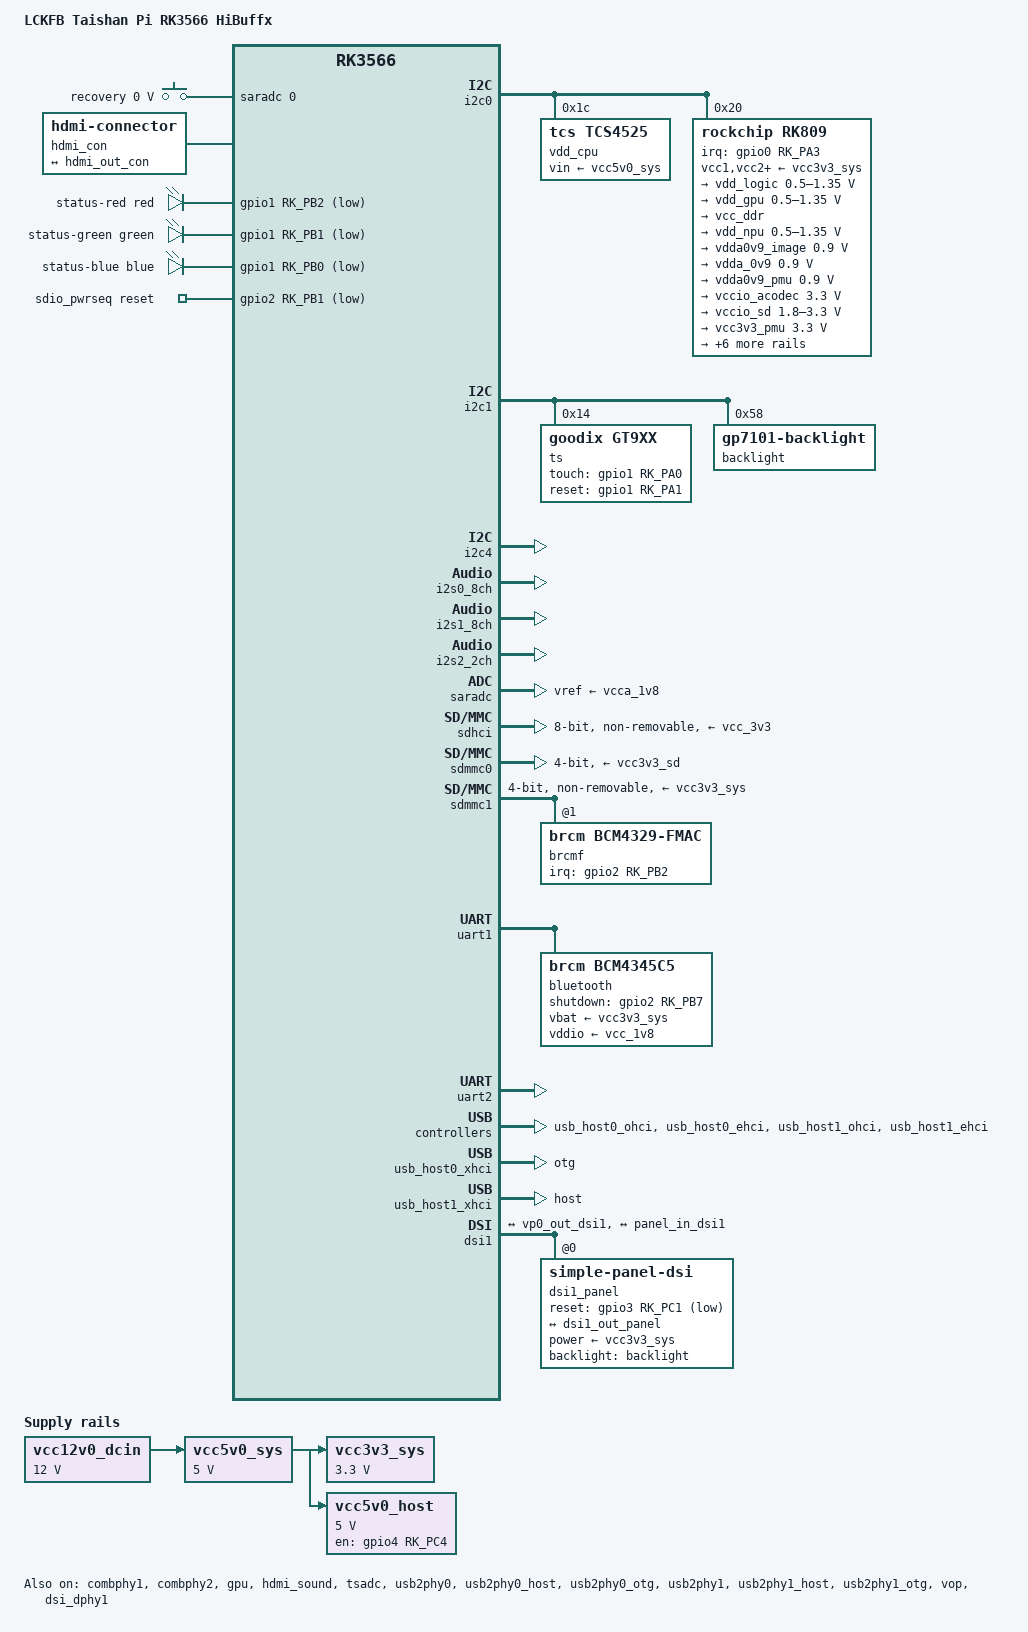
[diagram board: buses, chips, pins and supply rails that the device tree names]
// SPDX-License-Identifier: (GPL-2.0+ OR MIT)

/dts-v1/;

#include <dt-bindings/gpio/gpio.h>
#include <dt-bindings/display/media-bus-format.h>
#include <dt-bindings/leds/common.h>
#include <dt-bindings/pinctrl/rockchip.h>
#include <dt-bindings/soc/rockchip,vop2.h>
#include <dt-bindings/soc/rockchip,boot-mode.h>
#include <dt-bindings/display/drm_mipi_dsi.h>
#include <dt-bindings/display/rockchip_vop.h>
#include <dt-bindings/input/rk-input.h>
#include <dt-bindings/sensor-dev.h>
#include "rk3566.dtsi"

/ {
	model = "LCKFB Taishan Pi RK3566 HiBuffx";
	compatible = "lckfb,tspi-rk3566", "rockchip,rk3566";

	aliases {
		mmc0 = &sdhci;		//emmc设置为mmc0 (mmcblk0)
		mmc1 = &sdmmc0;		//sd设置为mmc1 (mmcblk1)
		mmc2 = &sdmmc1;
	};

	chosen: chosen {
		stdout-path = "serial2:1500000n8";
	};

	reserved-memory {
		#address-cells = <2>;
		#size-cells = <2>;
		ranges;

		ramoops: ramoops@110000 {
			compatible = "ramoops";
			reg = <0 0x110000 0 0xf0000>;
			console-size = <0x80000>;
			ftrace-size = <0x00000>;
			pmsg-size = <0x50000>;
			record-size = <0x20000>;
		};
	};

	adc_keys: adc-keys {
		compatible = "adc-keys";
		io-channels = <&saradc 0>;
		io-channel-names = "buttons";
		keyup-threshold-microvolt = <1800000>;
		poll-interval = <100>;

		button-recovery {
			label = "recovery";
			linux,code = <KEY_RESTART>;
			press-threshold-microvolt = <108>;
		};
	};

	hdmi_con: hdmi-con {
		compatible = "hdmi-connector";
		type = "d";

		port {
			hdmi_con_in: endpoint {
				remote-endpoint = <&hdmi_out_con>;
			};
		};
	};

	leds: leds {
		compatible = "gpio-leds";

		rgb_led_r: rgb-led-r {
			color = <LED_COLOR_ID_RED>;
			gpios = <&gpio1 RK_PB2 GPIO_ACTIVE_LOW>;
			label = "status-red";
		};

		rgb_led_g: rgb-led-g {
			gpios = <&gpio1 RK_PB1 GPIO_ACTIVE_LOW>;
			color = <LED_COLOR_ID_GREEN>;
			label = "status-green";
		};

		rgb_led_b: rgb-led-b {
			gpios = <&gpio1 RK_PB0 GPIO_ACTIVE_LOW>;
			color = <LED_COLOR_ID_BLUE>;
			label = "status-blue";
		};
	};

	multi_leds: multi-led {
		compatible = "leds-group-multicolor";
		color = <LED_COLOR_ID_RGB>;
		label = "status-rgb";
		function = LED_FUNCTION_INDICATOR;
		leds = <&rgb_led_r>, <&rgb_led_g>, <&rgb_led_b>;
	};

	vcc12v0_dcin: regulator-12v0-dcin {
		compatible = "regulator-fixed";
		regulator-name = "vcc12v0_dcin";
		regulator-always-on;
		regulator-boot-on;
		regulator-min-microvolt = <12000000>;
		regulator-max-microvolt = <12000000>;
	};

	vcc3v3_sys: regulator-3v3-vcc-sys {
		compatible = "regulator-fixed";
		regulator-name = "vcc3v3_sys";
		regulator-always-on;
		regulator-boot-on;
		regulator-min-microvolt = <3300000>;
		regulator-max-microvolt = <3300000>;
		vin-supply = <&vcc5v0_sys>;
	};

	vcc5v0_sys: regulator-5v0-vcc-sys {
		compatible = "regulator-fixed";
		regulator-name = "vcc5v0_sys";
		regulator-always-on;
		regulator-boot-on;
		regulator-min-microvolt = <5000000>;
		regulator-max-microvolt = <5000000>;
		vin-supply = <&vcc12v0_dcin>;
	};

	vcc5v0_host: regulator-5v0-vcc-host {
		compatible = "regulator-fixed";
		enable-active-high;
		gpio = <&gpio4 RK_PC4 GPIO_ACTIVE_HIGH>;
		pinctrl-names = "default";
		pinctrl-0 = <&vcc5v0_host_en>;
		regulator-name = "vcc5v0_host";
		regulator-min-microvolt = <5000000>;
		regulator-max-microvolt = <5000000>;
		vin-supply = <&vcc5v0_sys>;
	};

	sdio_pwrseq: sdio-pwrseq {
		compatible = "mmc-pwrseq-simple";
		clocks = <&rk809 1>;
		clock-names = "ext_clock";
		pinctrl-names = "default";
		pinctrl-0 = <&wifi_enable_h>;
		post-power-on-delay-ms = <200>;
		reset-gpios = <&gpio2 RK_PB1 GPIO_ACTIVE_LOW>;
	};

	sound {
		compatible = "simple-audio-card";
		simple-audio-card,format = "i2s";
		simple-audio-card,name = "Analog RK809";
		simple-audio-card,mclk-fs = <256>;

		simple-audio-card,cpu {
			sound-dai = <&i2s1_8ch>;
		};

		simple-audio-card,codec {
			sound-dai = <&rk809>;
		};
	};
};

&combphy1 {
	status = "okay";
};

&combphy2 {
	status = "okay";
};

&cpu0 {
	cpu-supply = <&vdd_cpu>;
};

&cpu1 {
	cpu-supply = <&vdd_cpu>;
};

&cpu2 {
	cpu-supply = <&vdd_cpu>;
};

&cpu3 {
	cpu-supply = <&vdd_cpu>;
};

&gpu {
	mali-supply = <&vdd_gpu>;
	status = "okay";
};

&hdmi {
	status = "disabled";
};

&hdmi_in {
	status = "disabled";
	/* 关键指令：删除 remote-endpoint 属性，防止它去找 vp0_out_hdmi */
	/delete-property/ remote-endpoint;
};

&hdmi_out {
	hdmi_out_con: endpoint {
		remote-endpoint = <&hdmi_con_in>;
	};
};

&hdmi_sound {
	status = "okay";
};

&i2c0 {
	status = "okay";

	vdd_cpu: regulator@1c {
		compatible = "tcs,tcs4525";
		reg = <0x1c>;
		fcs,suspend-voltage-selector = <1>;
		regulator-name = "vdd_cpu";
		regulator-always-on;
		regulator-boot-on;
		regulator-min-microvolt = <800000>;
		regulator-max-microvolt = <1150000>;
		regulator-ramp-delay = <2300>;
		vin-supply = <&vcc5v0_sys>;

		regulator-state-mem {
			regulator-off-in-suspend;
		};
	};

	rk809: pmic@20 {
		compatible = "rockchip,rk809";
		reg = <0x20>;
		assigned-clocks = <&cru I2S1_MCLKOUT_TX>;
		assigned-clock-parents = <&cru CLK_I2S1_8CH_TX>;
		#clock-cells = <1>;
		clock-output-names = "rk808-clkout1", "rk808-clkout2";
		clock-names = "mclk";
		clocks = <&cru I2S1_MCLKOUT_TX>;
		interrupt-parent = <&gpio0>;
		interrupts = <RK_PA3 IRQ_TYPE_LEVEL_LOW>;
		pinctrl-names = "default";
		pinctrl-0 = <&pmic_int>, <&i2s1m0_mclk>;
		system-power-controller;
		#sound-dai-cells = <0>;
		wakeup-source;

		vcc1-supply = <&vcc3v3_sys>;
		vcc2-supply = <&vcc3v3_sys>;
		vcc3-supply = <&vcc3v3_sys>;
		vcc4-supply = <&vcc3v3_sys>;
		vcc5-supply = <&vcc3v3_sys>;
		vcc6-supply = <&vcc3v3_sys>;
		vcc7-supply = <&vcc3v3_sys>;
		vcc8-supply = <&vcc3v3_sys>;
		vcc9-supply = <&vcc3v3_sys>;

		regulators {
			vdd_logic: DCDC_REG1 {
				regulator-name = "vdd_logic";
				regulator-always-on;
				regulator-boot-on;
				regulator-min-microvolt = <500000>;
				regulator-max-microvolt = <1350000>;
				regulator-ramp-delay = <6001>;
				regulator-initial-mode = <0x2>;

				regulator-state-mem {
					regulator-off-in-suspend;
				};
			};

			vdd_gpu: DCDC_REG2 {
				regulator-name = "vdd_gpu";
				regulator-always-on;
				regulator-boot-on;
				regulator-min-microvolt = <500000>;
				regulator-max-microvolt = <1350000>;
				regulator-ramp-delay = <6001>;
				regulator-initial-mode = <0x2>;

				regulator-state-mem {
					regulator-off-in-suspend;
				};
			};

			vcc_ddr: DCDC_REG3 {
				regulator-name = "vcc_ddr";
				regulator-always-on;
				regulator-boot-on;
				regulator-initial-mode = <0x2>;

				regulator-state-mem {
					regulator-on-in-suspend;
				};
			};

			vdd_npu: DCDC_REG4 {
				regulator-name = "vdd_npu";
				regulator-always-on;
				regulator-boot-on;
				regulator-min-microvolt = <500000>;
				regulator-max-microvolt = <1350000>;
				regulator-ramp-delay = <6001>;
				regulator-initial-mode = <0x2>;

				regulator-state-mem {
					regulator-off-in-suspend;
				};
			};

			vdda0v9_image: LDO_REG1 {
				regulator-name = "vdda0v9_image";
				regulator-boot-on;
				regulator-always-on;
				regulator-min-microvolt = <900000>;
				regulator-max-microvolt = <900000>;

				regulator-state-mem {
					regulator-off-in-suspend;
				};
			};

			vdda_0v9: LDO_REG2 {
				regulator-name = "vdda_0v9";
				regulator-always-on;
				regulator-boot-on;
				regulator-min-microvolt = <900000>;
				regulator-max-microvolt = <900000>;
				regulator-state-mem {
					regulator-off-in-suspend;
				};
			};

			vdda0v9_pmu: LDO_REG3 {
				regulator-name = "vdda0v9_pmu";
				regulator-always-on;
				regulator-boot-on;
				regulator-min-microvolt = <900000>;
				regulator-max-microvolt = <900000>;

				regulator-state-mem {
					regulator-on-in-suspend;
					regulator-suspend-microvolt = <900000>;
				};
			};

			vccio_acodec: LDO_REG4 {
				regulator-name = "vccio_acodec";
				regulator-always-on;
				regulator-boot-on;
				regulator-min-microvolt = <3300000>;
				regulator-max-microvolt = <3300000>;

				regulator-state-mem {
					regulator-off-in-suspend;
				};
			};

			vccio_sd: LDO_REG5 {
				regulator-name = "vccio_sd";
				regulator-always-on;
				regulator-boot-on;
				regulator-min-microvolt = <1800000>;
				regulator-max-microvolt = <3300000>;

				regulator-state-mem {
					regulator-off-in-suspend;
				};
			};

			vcc3v3_pmu: LDO_REG6 {
				regulator-name = "vcc3v3_pmu";
				regulator-always-on;
				regulator-boot-on;
				regulator-min-microvolt = <3300000>;
				regulator-max-microvolt = <3300000>;

				regulator-state-mem {
					regulator-on-in-suspend;
					regulator-suspend-microvolt = <3300000>;
				};
			};

			vcca_1v8: LDO_REG7 {
				regulator-name = "vcca_1v8";
				regulator-always-on;
				regulator-boot-on;
				regulator-min-microvolt = <1800000>;
				regulator-max-microvolt = <1800000>;

				regulator-state-mem {
					regulator-off-in-suspend;
				};
			};

			vcca1v8_pmu: LDO_REG8 {
				regulator-name = "vcca1v8_pmu";
				regulator-always-on;
				regulator-boot-on;
				regulator-min-microvolt = <1800000>;
				regulator-max-microvolt = <1800000>;

				regulator-state-mem {
					regulator-on-in-suspend;
					regulator-suspend-microvolt = <1800000>;
				};
			};

			vcca1v8_image: LDO_REG9 {
				regulator-name = "vcca1v8_image";
				regulator-always-on;
				regulator-boot-on;
				regulator-min-microvolt = <1800000>;
				regulator-max-microvolt = <1800000>;

				regulator-state-mem {
					regulator-off-in-suspend;
				};
			};

			vcc_1v8: DCDC_REG5 {
				regulator-name = "vcc_1v8";
				regulator-always-on;
				regulator-boot-on;
				regulator-min-microvolt = <1800000>;
				regulator-max-microvolt = <1800000>;

				regulator-state-mem {
					regulator-off-in-suspend;
				};
			};

			vcc_3v3: SWITCH_REG1 {
				regulator-name = "vcc_3v3";
				regulator-always-on;
				regulator-boot-on;

				regulator-state-mem {
					regulator-off-in-suspend;
				};
			};

			vcc3v3_sd: SWITCH_REG2 {
				regulator-name = "vcc3v3_sd";
				regulator-always-on;
				regulator-boot-on;

				regulator-state-mem {
					regulator-off-in-suspend;
				};
			};
		};

		codec {
			rockchip,mic-in-differential;
		};
	};
};

&i2c1 {
	status = "okay";
	/* Touch Screen  */
	ts@14 {
		compatible = "goodix,gt9xx";
		reg = <0x14>;
		tp-size = <928>; 
		max-x = <800>;
		max-y = <1280>;
		touch-gpio = <&gpio1 RK_PA0 IRQ_TYPE_LEVEL_LOW>;
		reset-gpio = <&gpio1 RK_PA1 GPIO_ACTIVE_HIGH>;
	};

	backlight: GP7101@58 {
		compatible = "gp7101-backlight";
		reg = <0x58>;
		max-brightness-levels = <255>;
		default-brightness-level = <100>;
	};
};

&i2c4 {
	pinctrl-names = "default";
	pinctrl-0 = <&i2c4m0_xfer>;
	status = "okay";
	/* Camera */
};

&i2s0_8ch {
	status = "okay";
	/* HDMI */
};

&i2s1_8ch {
	pinctrl-names = "default";
	pinctrl-0 = <&i2s1m0_sclktx &i2s1m0_lrcktx &i2s1m0_sdi0 &i2s1m0_sdo0>;
	rockchip,trcm-sync-tx-only;
	status = "okay";
	/* PMIC */
};

&i2s2_2ch {
	rockchip,trcm-sync-tx-only;
	status = "okay";
	/* AP6212 Bluetooth */
};

&pinctrl {
	bt {
		bt_enable_h: bt-enable-h {
			rockchip,pins = <2 RK_PB7 RK_FUNC_GPIO &pcfg_pull_none>;
		};

		bt_host_wake_l: bt-host-wake-l {
			rockchip,pins = <2 RK_PC0 RK_FUNC_GPIO &pcfg_pull_down>;
		};

		bt_wake_l: bt-wake-l {
			rockchip,pins = <2 RK_PC1 RK_FUNC_GPIO &pcfg_pull_none>;
		};
	};

	hp-detect {
		hp_det: hp-det {
			rockchip,pins = <4 RK_PC6 RK_FUNC_GPIO &pcfg_pull_up>;
		};
	};

	pmic {
		pmic_int: pmic-int {
			rockchip,pins = <0 RK_PA3 RK_FUNC_GPIO &pcfg_pull_up>;
		};
	};

	sdio-pwrseq {
		wifi_enable_h: wifi-enable-h {
			rockchip,pins = <2 RK_PB1 RK_FUNC_GPIO &pcfg_pull_none>;
		};

		wifi_host_wake_h: wifi-host-wake-l {
			rockchip,pins = <2 RK_PB2 RK_FUNC_GPIO &pcfg_pull_none>;
		};
	};

	usb2 {
		vcc5v0_host_en: vcc5v0-host-en {
			rockchip,pins = <4 RK_PC4 RK_FUNC_GPIO &pcfg_pull_none>;
		};
	};

	dsi1 {
		dsi1_rst_gpio: dsi1-rst-gpio {
			rockchip,pins = <3 RK_PC1 RK_FUNC_GPIO &pcfg_pull_none>;
		};
		touch_gpio: touch-gpio {
			rockchip,pins = <1 RK_PA0 RK_FUNC_GPIO &pcfg_pull_up>;
		};
	};
};

&pmu_io_domains {
	pmuio1-supply = <&vcc3v3_pmu>;
	pmuio2-supply = <&vcc3v3_pmu>;
	vccio1-supply = <&vccio_acodec>;
	vccio2-supply = <&vcc_1v8>;
	vccio3-supply = <&vccio_sd>;
	vccio4-supply = <&vcc_1v8>;
	vccio5-supply = <&vcc_3v3>;
	vccio6-supply = <&vcc_1v8>;
	vccio7-supply = <&vcc_3v3>;
	status = "okay";
};

&pmugrf {
	reboot-mode {
		compatible = "syscon-reboot-mode";
		offset = <0x200>;
		mode-normal = <BOOT_NORMAL>;
		mode-loader = <BOOT_BL_DOWNLOAD>;
		mode-recovery = <BOOT_RECOVERY>;
		mode-bootloader = <BOOT_FASTBOOT>;
	};
};

&saradc {
	vref-supply = <&vcca_1v8>;
	status = "okay";
	/* Channel 0: Recovery Button */
	/* Channel 1: Hardware ID */
};

&sdhci {
	bus-width = <8>;
	max-frequency = <200000000>;
	non-removable;
	pinctrl-names = "default";
	pinctrl-0 = <&emmc_bus8 &emmc_clk &emmc_cmd &emmc_datastrobe &emmc_rstnout>;
	vmmc-supply = <&vcc_3v3>;
	vqmmc-supply = <&vcc_1v8>;
	status = "okay";
};

&sdmmc0 {
	bus-width = <4>;
	cap-mmc-highspeed;
	cap-sd-highspeed;
	disable-wp;
	max-frequency = <150000000>;
	pinctrl-names = "default";
	pinctrl-0 = <&sdmmc0_bus4 &sdmmc0_clk &sdmmc0_cmd &sdmmc0_det>;
	sd-uhs-sdr104;
	supports-sd;
	vmmc-supply = <&vcc3v3_sd>;
	vqmmc-supply = <&vccio_sd>;
	status = "okay";
};

&sdmmc1 {
	bus-width = <4>;
	cap-sd-highspeed;
	cap-sdio-irq;
	disable-wp;
	keep-power-in-suspend;
	max-frequency = <150000000>;
	mmc-pwrseq = <&sdio_pwrseq>;
	non-removable;
	pinctrl-names = "default";
	pinctrl-0 = <&sdmmc1_bus4 &sdmmc1_cmd &sdmmc1_clk>;
	sd-uhs-sdr104;
	vmmc-supply = <&vcc3v3_sys>;
	vqmmc-supply = <&vcc_1v8>;
	#address-cells = <1>;
	#size-cells = <0>;
	status = "okay";

	brcmf: wifi@1 {
		compatible = "brcm,bcm4329-fmac";	// ap6212
		//compatible = "brcm,bcm4345-fmac";	//ap6255
		reg = <1>;
		interrupt-parent = <&gpio2>;
		interrupts = <RK_PB2 IRQ_TYPE_LEVEL_HIGH>;
		interrupt-names = "host-wake";
		pinctrl-names = "default";
		pinctrl-0 = <&wifi_host_wake_h>;
	};
};

&tsadc {
	rockchip,hw-tshut-mode = <1>;
	rockchip,hw-tshut-polarity = <0>;
	status = "okay";
};

&uart1 {
	pinctrl-names = "default";
	pinctrl-0 = <&uart1m0_xfer &uart1m0_ctsn &uart1m0_rtsn>;
	uart-has-rtscts;
	status = "okay";

	bluetooth: bluetooth {
		//compatible = "brcm,bcm43438-bt";		//ap6212
		compatible = "brcm,bcm4345c5";
		clocks = <&rk809 1>;
		clock-names = "lpo";
		max-speed = <3000000>;
		pinctrl-names = "default";
		pinctrl-0 = <&bt_host_wake_l &bt_wake_l &bt_enable_h>;
		shutdown-gpios = <&gpio2 RK_PB7 GPIO_ACTIVE_HIGH>;
		vbat-supply = <&vcc3v3_sys>;
		vddio-supply = <&vcc_1v8>;
	};
};

&uart2 {
	pinctrl-names = "default";
	pinctrl-0 = <&uart2m0_xfer>;
	status = "okay";
};

&usb_host0_ohci {
	status = "okay";
};

&usb_host0_ehci {
	status = "okay";
};

&usb_host0_xhci {
	dr_mode = "otg";
	status = "okay";
};

&usb_host1_ohci {
	status = "okay";
};

&usb_host1_ehci {
	status = "okay";
};

&usb_host1_xhci {
	dr_mode = "host";
	status = "okay";
};

&usb2phy0 {
	status = "okay";
};

&usb2phy0_host {
	phy-supply = <&vcc5v0_sys>;
	status = "okay";
};

&usb2phy0_otg {
	phy-supply = <&vcc5v0_sys>;
	status = "okay";
};

&usb2phy1 {
	status = "okay";
};

&usb2phy1_host {
	phy-supply = <&vcc5v0_host>;
	status = "okay";
};

&usb2phy1_otg {
	phy-supply = <&vcc5v0_host>;
	status = "okay";
};

&vop {
	assigned-clocks = <&cru DCLK_VOP0>, <&cru DCLK_VOP1>;
	assigned-clock-parents = <&pmucru PLL_HPLL>, <&cru PLL_VPLL>;
	status = "okay";
};

&vop_mmu {
	status = "okay";
};

&vp0 {
    /* 
       cursor-win-id 保持不变 
    */
    cursor-win-id = <ROCKCHIP_VOP2_ESMART0>;
    
    /* 
       关键修改：
       原代码: reg = <1>;  (对应 RGB0，错误)
       新代码: reg = <6>;  (对应 MIPI1/DSI1，正确)
    */
    vp0_out_dsi1: endpoint@ROCKCHIP_VOP2_EP_MIPI1 {
        reg = <ROCKCHIP_VOP2_EP_MIPI1>; 
        /* 或者直接写: reg = <6>; */
        remote-endpoint = <&dsi1_in_vp0>;
    };
};

/* 确保 DSI0 是禁用的，防止冲突 */
&dsi0 {
    status = "disabled";
};

&dsi1 {
    status = "okay";
    #address-cells = <1>;
    #size-cells = <0>;

    /* === DSI 控制器的端口 (一进一出) === */
    ports {
        #address-cells = <1>;
        #size-cells = <0>;

        /* Port 0: 输入 (来自 VOP2) */
        dsi1_in: port@0 {
            reg = <0>;
            dsi1_in_vp0: endpoint {
                remote-endpoint = <&vp0_out_dsi1>;
            };
        };

        /* Port 1: 输出 (去往 Panel) */
        dsi1_out: port@1 {
            reg = <1>;
            dsi1_out_panel: endpoint {
                remote-endpoint = <&panel_in_dsi1>;
            };
        };
    };

    /* === 面板节点 === */
    dsi1_panel: panel@0 {
        compatible = "simple-panel-dsi";
        reg = <0>;
        
        /* 这里的标签必须在 i2c1 节点中定义好 */
        backlight = <&backlight>;
        
        reset-gpios = <&gpio3 RK_PC1 GPIO_ACTIVE_LOW>;
        pinctrl-names = "default";
        pinctrl-0 = <&dsi1_rst_gpio>;
        
        /* 电源建议显式指定 */
        power-supply = <&vcc3v3_sys>;

        /* 时序参数 */
        reset-delay-ms = <10>;
        enable-delay-ms = <120>;
        prepare-delay-ms = <5>;
        unprepare-delay-ms = <20>;
        disable-delay-ms = <10>;
        init-delay-ms = <120>;

        dsi,flags = <(MIPI_DSI_MODE_VIDEO | MIPI_DSI_MODE_VIDEO_BURST |
                      MIPI_DSI_MODE_LPM | MIPI_DSI_MODE_NO_EOT_PACKET)>;
        dsi,format = <MIPI_DSI_FMT_RGB888>;
        dsi,lanes  = <4>;

        /* 您的初始化序列 (省略内容) */
        panel-init-sequence = [ 
			// 设置mipi初始化

			// 第一组寄存器配置 (E0-E3, 80)
			15 00 02 E0 00 // {0xE0, 1, { 0x00}}
			15 00 02 E1 93 // {0xE1, 1, { 0x93}}
			15 00 02 E2 65 // {0xE2, 1, { 0x65}}
			15 00 02 E3 F8 // {0xE3, 1, { 0xF8}}
			15 00 02 80 03 // {0x80, 1, { 0x03}}

			// 第二组寄存器配置 (E0=0x01)
			15 00 02 E0 01 // {0xE0, 1, { 0x01}}
			15 00 02 00 00 // {0x00, 1, { 0x00}}
			15 00 02 01 38 // {0x01, 1, { 0x38}}
			15 00 02 03 10 // {0x03, 1, { 0x10}}
			15 00 02 04 38 // {0x04, 1, { 0x38}}

			15 00 02 0C 74 // {0x0C, 1, { 0x74}}

			15 00 02 17 00 // {0x17, 1, { 0x00}}
			15 00 02 18 AF // {0x18, 1, { 0xAF}}
			15 00 02 19 00 // {0x19, 1, { 0x00}}
			15 00 02 1A 00 // {0x1A, 1, { 0x00}}
			15 00 02 1B AF // {0x1B, 1, { 0xAF}}
			15 00 02 1C 00 // {0x1C, 1, { 0x00}}


			15 00 02 35 26 // {0x35, 1, { 0x26}}

			15 00 02 37 09 // {0x37, 1, { 0x09}}

			15 00 02 38 04 // {0x38, 1, { 0x04}}
			15 00 02 39 00 // {0x39, 1, { 0x00}}
			15 00 02 3A 01 // {0x3A, 1, { 0x01}}
			15 00 02 3C 78 // {0x3C, 1, { 0x78}}
			15 00 02 3D FF // {0x3D, 1, { 0xFF}}
			15 00 02 3E FF // {0x3E, 1, { 0xFF}}
			15 00 02 3F 7F // {0x3F, 1, { 0x7F}}

			15 00 02 40 06 // {0x40, 1, { 0x06}}
			15 00 02 41 A0 // {0x41, 1, { 0xA0}}
			15 00 02 42 81 // {0x42, 1, { 0x81}}
			15 00 02 43 1E // {0x43, 1, { 0x1E}}
			15 00 02 44 0D // {0x44, 1, { 0x0D}}
			15 00 02 45 28 // {0x45, 1, { 0x28}}

			15 00 02 55 02 // {0x55, 1, { 0x0D}}  // {0x55, 1, { 0x02}}
			15 00 02 57 69 // {0x57, 1, { 0x69}}
			15 00 02 59 0A // {0x59, 1, { 0x0A}}
			15 00 02 5A 2A // {0x5A, 1, { 0x2A}}
			15 00 02 5B 17 // {0x5B, 1, { 0x17}}

			15 00 02 5D 7F // {0x5D, 1, { 0x7F}}
			15 00 02 5E 6A // {0x5E, 1, { 0x6A}}
			15 00 02 5F 5B // {0x5F, 1, { 0x5B}}
			15 00 02 60 4F // {0x60, 1, { 0x4F}}
			15 00 02 61 4A // {0x61, 1, { 0x4A}}
			15 00 02 62 3D // {0x62, 1, { 0x3D}}
			15 00 02 63 41 // {0x63, 1, { 0x41}}
			15 00 02 64 2A // {0x64, 1, { 0x2A}}
			15 00 02 65 44 // {0x65, 1, { 0x44}}
			15 00 02 66 43 // {0x66, 1, { 0x43}}
			15 00 02 67 44 // {0x67, 1, { 0x44}}
			15 00 02 68 62 // {0x68, 1, { 0x62}}
			15 00 02 69 52 // {0x69, 1, { 0x52}}
			15 00 02 6A 59 // {0x6A, 1, { 0x59}}
			15 00 02 6B 4C // {0x6B, 1, { 0x4C}}
			15 00 02 6C 48 // {0x6C, 1, { 0x48}}
			15 00 02 6D 3A // {0x6D, 1, { 0x3A}}
			15 00 02 6E 26 // {0x6E, 1, { 0x26}}
			15 00 02 6F 00 // {0x6F, 1, { 0x00}}
			15 00 02 70 7F // {0x70, 1, { 0x7F}}
			15 00 02 71 6A // {0x71, 1, { 0x6A}}
			15 00 02 72 5B // {0x72, 1, { 0x5B}}
			15 00 02 73 4F // {0x73, 1, { 0x4F}}
			15 00 02 74 4A // {0x74, 1, { 0x4A}}
			15 00 02 75 3D // {0x75, 1, { 0x3D}}
			15 00 02 76 41 // {0x76, 1, { 0x41}}
			15 00 02 77 2A // {0x77, 1, { 0x2A}}
			15 00 02 78 44 // {0x78, 1, { 0x44}}
			15 00 02 79 43 // {0x79, 1, { 0x43}}
			15 00 02 7A 44 // {0x7A, 1, { 0x44}}
			15 00 02 7B 62 // {0x7B, 1, { 0x62}}
			15 00 02 7C 52 // {0x7C, 1, { 0x52}}
			15 00 02 7D 59 // {0x7D, 1, { 0x59}}
			15 00 02 7E 4C // {0x7E, 1, { 0x4C}}
			15 00 02 7F 48 // {0x7F, 1, { 0x48}}
			15 00 02 80 3A // {0x80, 1, { 0x3A}}
			15 00 02 81 26 // {0x81, 1, { 0x26}}
			15 00 02 82 00 // {0x82, 1, { 0x00}}

			// 第三组寄存器配置 (E0=0x02)
			15 00 02 E0 02 // {0xE0, 1, { 0x02}}
			15 00 02 00 42 // {0x00, 1, { 0x42}}
			15 00 02 01 42 // {0x01, 1, { 0x42}}
			15 00 02 02 40 // {0x02, 1, { 0x40}}
			15 00 02 03 40 // {0x03, 1, { 0x40}}
			15 00 02 04 5E // {0x04, 1, { 0x5E}}
			15 00 02 05 5E // {0x05, 1, { 0x5E}}
			15 00 02 06 5F // {0x06, 1, { 0x5F}}
			15 00 02 07 5F // {0x07, 1, { 0x5F}}
			15 00 02 08 5F // {0x08, 1, { 0x5F}}
			15 00 02 09 57 // {0x09, 1, { 0x57}}
			15 00 02 0A 57 // {0x0A, 1, { 0x57}}
			15 00 02 0B 77 // {0x0B, 1, { 0x77}}
			15 00 02 0C 77 // {0x0C, 1, { 0x77}}
			15 00 02 0D 47 // {0x0D, 1, { 0x47}}
			15 00 02 0E 47 // {0x0E, 1, { 0x47}}
			15 00 02 0F 45 // {0x0F, 1, { 0x45}}
			15 00 02 10 45 // {0x10, 1, { 0x45}}
			15 00 02 11 4B // {0x11, 1, { 0x4B}}
			15 00 02 12 4B // {0x12, 1, { 0x4B}}
			15 00 02 13 49 // {0x13, 1, { 0x49}}
			15 00 02 14 49 // {0x14, 1, { 0x49}}
			15 00 02 15 5F // {0x15, 1, { 0x5F}}

			15 00 02 16 41 // {0x16, 1, { 0x41}}
			15 00 02 17 41 // {0x17, 1, { 0x41}}
			15 00 02 18 40 // {0x18, 1, { 0x40}}
			15 00 02 19 40 // {0x19, 1, { 0x40}}
			15 00 02 1A 5E // {0x1A, 1, { 0x5E}}
			15 00 02 1B 5E // {0x1B, 1, { 0x5E}}
			15 00 02 1C 5F // {0x1C, 1, { 0x5F}}
			15 00 02 1D 5F // {0x1D, 1, { 0x5F}}
			15 00 02 1E 5F // {0x1E, 1, { 0x5F}}
			15 00 02 1F 57 // {0x1F, 1, { 0x57}}
			15 00 02 20 57 // {0x20, 1, { 0x57}}
			15 00 02 21 77 // {0x21, 1, { 0x77}}
			15 00 02 22 77 // {0x22, 1, { 0x77}}
			15 00 02 23 46 // {0x23, 1, { 0x46}}
			15 00 02 24 46 // {0x24, 1, { 0x46}}
			15 00 02 25 44 // {0x25, 1, { 0x44}}
			15 00 02 26 44 // {0x26, 1, { 0x44}}
			15 00 02 27 4A // {0x27, 1, { 0x4A}}
			15 00 02 28 4A // {0x28, 1, { 0x4A}}
			15 00 02 29 48 // {0x29, 1, { 0x48}}
			15 00 02 2A 48 // {0x2A, 1, { 0x48}}
			15 00 02 2B 5F // {0x2B, 1, { 0x5F}}

			15 00 02 2C 01 // {0x2C, 1, { 0x01}}
			15 00 02 2D 01 // {0x2D, 1, { 0x01}}
			15 00 02 2E 00 // {0x2E, 1, { 0x00}}
			15 00 02 2F 00 // {0x2F, 1, { 0x00}}
			15 00 02 30 1F // {0x30, 1, { 0x1F}}
			15 00 02 31 1F // {0x31, 1, { 0x1F}}
			15 00 02 32 1E // {0x32, 1, { 0x1E}}
			15 00 02 33 1E // {0x33, 5, { 0x1E}}
			15 00 02 34 1F // {0x34, 1, { 0x1F}}
			15 00 02 35 17 // {0x35, 1, { 0x17}}
			15 00 02 36 17 // {0x36, 1, { 0x17}}
			15 00 02 37 37 // {0x37, 1, { 0x37}}
			15 00 02 38 37 // {0x38, 1, { 0x37}}
			15 00 02 39 08 // {0x39, 1, { 0x08}}
			15 00 02 3A 08 // {0x3A, 1, { 0x08}}
			15 00 02 3B 0A // {0x3B, 1, { 0x0A}}
			15 00 02 3C 0A // {0x3C, 1, { 0x0A}}
			15 00 02 3D 04 // {0x3D, 1, { 0x04}}
			15 00 02 3E 04 // {0x3E, 1, { 0x04}}
			15 00 02 3F 06 // {0x3F, 1, { 0x06}}
			15 00 02 40 06 // {0x40, 1, { 0x06}}
			15 00 02 41 1F // {0x41, 1, { 0x1F}}

			15 00 02 42 02 // {0x42, 1, { 0x02}}
			15 00 02 43 02 // {0x43, 1, { 0x02}}
			15 00 02 44 00 // {0x44, 1, { 0x00}}
			15 00 02 45 00 // {0x45, 1, { 0x00}}
			15 00 02 46 1F // {0x46, 1, { 0x1F}}
			15 00 02 47 1F // {0x47, 1, { 0x1F}}
			15 00 02 48 1E // {0x48, 1, { 0x1E}}
			15 00 02 49 1E // {0x49, 1, { 0x1E}}
			15 00 02 4A 1F // {0x4A, 1, { 0x1F}}
			15 00 02 4B 17 // {0x4B, 1, { 0x17}}
			15 00 02 4C 17 // {0x4C, 1, { 0x17}}
			15 00 02 4D 37 // {0x4D, 1, { 0x37}}
			15 00 02 4E 37 // {0x4E, 1, { 0x37}}
			15 00 02 4F 09 // {0x4F, 1, { 0x09}}
			15 00 02 50 09 // {0x50, 1, { 0x09}}
			15 00 02 51 0B // {0x51, 1, { 0x0B}}
			15 00 02 52 0B // {0x52, 1, { 0x0B}}
			15 00 02 53 05 // {0x53, 1, { 0x05}}
			15 00 02 54 05 // {0x54, 1, { 0x05}}
			15 00 02 55 07 // {0x55, 1, { 0x07}}
			15 00 02 56 07 // {0x56, 1, { 0x07}}
			15 00 02 57 1F // {0x57, 1, { 0x1F}}

			15 00 02 58 40 // {0x58, 1, { 0x40}}
			15 00 02 5B 30 // {0x5B, 1, { 0x30}}
			15 00 02 5C 00 // {0x5C, 1, { 0x00}}
			15 00 02 5D 34 // {0x5D, 1, { 0x34}}
			15 00 02 5E 05 // {0x5E, 1, { 0x05}}
			15 00 02 5F 02 // {0x5F, 1, { 0x02}}
			15 00 02 63 00 // {0x63, 1, { 0x00}}
			15 00 02 64 6A // {0x64, 1, { 0x6A}}
			15 00 02 67 73 // {0x67, 1, { 0x73}}
			15 00 02 68 07 // {0x68, 1, { 0x07}}
			15 00 02 69 08 // {0x69, 1, { 0x08}}
			15 00 02 6A 6A // {0x6A, 1, { 0x6A}}
			15 00 02 6B 08 // {0x6B, 1, { 0x08}}

			15 00 02 6C 00 // {0x6C, 1, { 0x00}}
			15 00 02 6D 00 // {0x6D, 1, { 0x00}}
			15 00 02 6E 00 // {0x6E, 1, { 0x00}}
			15 00 02 6F 88 // {0x6F, 1, { 0x88}}

			15 00 02 75 FF // {0x75, 1, { 0xFF}}
			15 00 02 77 DD // {0x77, 1, { 0xDD}}
			15 00 02 78 2C // {0x78, 1, { 0x2C}}
			15 00 02 79 15 // {0x79, 1, { 0x15}}
			15 00 02 7A 17 // {0x7A, 1, { 0x17}}
			15 00 02 7D 14 // {0x7D, 1, { 0x14}}
			15 00 02 7E 82 // {0x7E, 1, { 0x82}}

			// E0=0x04配置组
			15 00 02 E0 04 // {0xE0, 1, { 0x04}}
			15 00 02 00 0E // {0x00, 1, { 0x0E}}
			15 00 02 02 B3 // {0x02, 1, { 0xB3}}
			15 00 02 09 61 // {0x09, 1, { 0x61}}
			15 00 02 0E 48 // {0x0E, 1, { 0x48}}

			// E0=0x00配置组
			15 00 02 E0 00 // {0xE0, 1, { 0x00}}

			15 00 02 E6 02 // {0xE6, 1, { 0x02}}
			15 00 02 E7 0C // {0xE7, 1, { 0x0C}}

			// 显示开启命令
			15 78 02 11 00 // {0x11, 1, { 0x00}} 含Delayms(120)
			15 05 02 29 00 // {0x29, 1, { 0x00}} 含Delayms(5)
			//05 00 01 35
		];
        panel-exit-sequence = [
            05 00 01 28
            05 00 01 10
        ];

        disp_timings1: display-timings {
            native-mode = <&dsi1_timing0>;
            dsi1_timing0: timing0 {
                clock-frequency = <67000000>;
                hactive = <800>;
                hfront-porch = <18>;
                hback-porch = <18>;
                hsync-len = <18>;
                vactive = <1280>;
                vfront-porch = <20>;
                vback-porch = <10>;
                vsync-len = <4>;
                hsync-active = <0>;
                vsync-active = <0>;
                de-active = <0>;
                pixelclk-active = <0>;
                swap-rb = <0>;
                swap-rg = <0>;
                swap-gb = <0>;
            };
        };

        /* === 修改重点：简化 Panel 的端口定义 === */
        /* 不要在这里用 ports {} 包裹，直接用 port {} */
        port {
            panel_in_dsi1: endpoint {
                remote-endpoint = <&dsi1_out_panel>;
            };
        };
    };
};

/* 激活 DSI PHY */
&dsi_dphy1 {
    status = "okay";
};

&vp1 {
	cursor-win-id = <ROCKCHIP_VOP2_ESMART1>;
};
